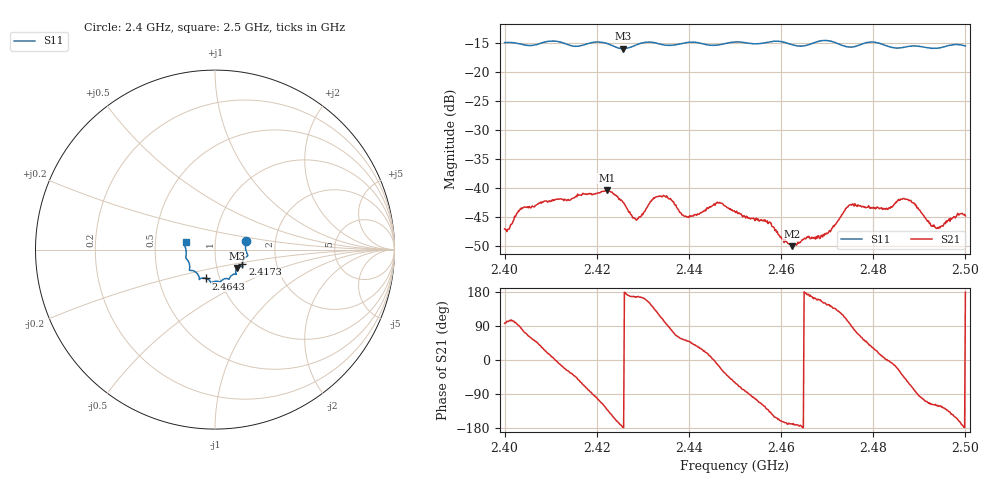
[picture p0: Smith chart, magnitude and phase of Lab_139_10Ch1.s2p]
# Hz S RI R 50
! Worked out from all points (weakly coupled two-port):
!   601 points, 2.4 GHz to 2.5 GHz, reference 50 ohm
!   highest |S21| = -40.36 dB at 2.4222 GHz (marker M1); lowest = -50.1 dB at 2.4623 GHz (marker M2)
!   lowest |S11| = -15.9 dB at 2.4257 GHz (marker M3), VSWR 1.38, Z = 62.4 - j13.1 ohm
!   |S11| at or under -10 dB: start of sweep to end of sweep
!   S12 and S22 are empty: the file has one direction only
!   S11 on the Smith chart (normalised r, x): 2.4 GHz: 1.41, +0.15; 2.4173 GHz: 1.34, -0.23; 2.4643 GHz: 0.86, -0.28; 2.5 GHz: 0.72, +0.06
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2.4e9  0.1735 0.0499  -0.000528 0.00437  0 0  0 0
2.403833e9  0.1721 0.0269  0.00114 0.00663  0 0  0 0
2.416667e9  0.1532 -0.0744  0.00432 -0.00744  0 0  0 0
2.417333e9  0.1527 -0.0818  0.00319 -0.00824  0 0  0 0
2.422167e9  0.1509 -0.0945  -0.00618 -0.00735  0 0  0 0
2.425667e9  0.1224 -0.1026  -0.00749 -0.000335  0 0  0 0
2.428667e9  0.1155 -0.129  -0.00512 0.00117  0 0  0 0
2.433333e9  0.1126 -0.1365  -0.00443 0.00718  0 0  0 0
2.435667e9  0.0968 -0.1409  0.000442 0.00801  0 0  0 0
2.4395e9  0.0807 -0.1618  0.00359 0.00428  0 0  0 0
2.446333e9  0.0446 -0.1665  0.00717 -0.0018  0 0  0 0
2.45e9  0.0295 -0.1806  0.0031 -0.00535  0 0  0 0
2.457333e9  -0.0154 -0.182  -0.00347 -0.00362  0 0  0 0
2.462333e9  -0.0316 -0.1705  -0.00306 -0.000618  0 0  0 0
2.464333e9  -0.0503 -0.1606  -0.00344 -0.000394  0 0  0 0
2.466667e9  -0.0763 -0.1597  -0.00364 0.000856  0 0  0 0
2.470333e9  -0.0872 -0.1656  -0.00339 0.00237  0 0  0 0
2.475167e9  -0.1082 -0.1248  -0.000111 0.00715  0 0  0 0
2.483333e9  -0.1409 -0.0896  0.00667 -0.00022  0 0  0 0
2.487667e9  -0.1592 -0.0524  0.00393 -0.00684  0 0  0 0
2.494e9  -0.1617 -0.0015  -0.00225 -0.00393  0 0  0 0
2.5e9  -0.1636 0.042  -0.00571 0.000135  0 0  0 0
